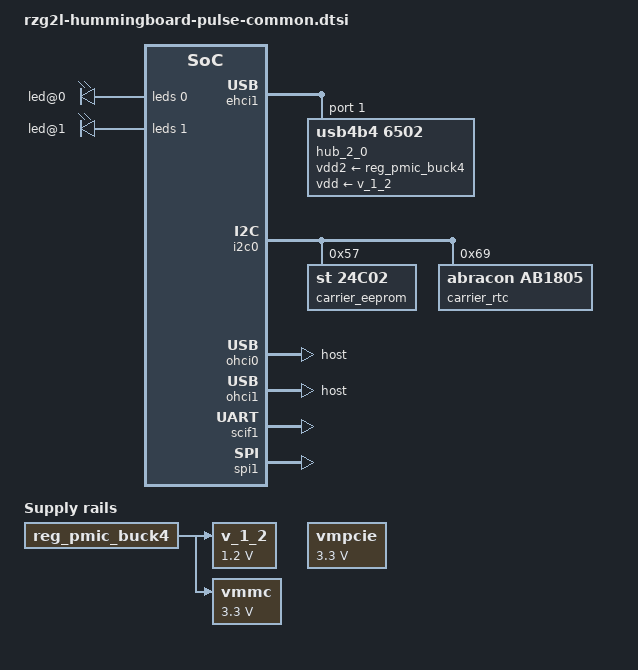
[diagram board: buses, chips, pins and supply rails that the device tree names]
// SPDX-License-Identifier: (GPL-2.0-only OR BSD-2-Clause)
/*
 * Copyright 2025 Josua Mayer <josua@solid-run.com>
 */

#include <dt-bindings/leds/common.h>

/ {
	aliases {
		rtc0 = &carrier_rtc;
		rtc1 = &pmic;
	};

	v_1_2: regulator-1v2 {
		compatible = "regulator-fixed";
		regulator-name = "1v2";
		regulator-max-microvolt = <1200000>;
		regulator-min-microvolt = <1200000>;
		vin-supply = <&reg_pmic_buck4>;
	};

	vmmc: regulator-mmc {
		compatible = "regulator-fixed";
		regulator-name = "vmmc";
		regulator-max-microvolt = <3300000>;
		regulator-min-microvolt = <3300000>;
		startup-delay-us = <250>;
		vin-supply = <&reg_pmic_buck4>;
	};

	vmpcie: regulator-mpcie {
		/* supplies mpcie and m2 connectors */
		regulator-name = "vmpcie";
		compatible = "regulator-fixed";
		regulator-always-on;
		regulator-max-microvolt = <3300000>;
		regulator-min-microvolt = <3300000>;
		enable-active-high;
	};
};

&ehci1 {
	#address-cells = <1>;
	#size-cells = <0>;

	hub_2_0: hub@1 {
		compatible = "usb4b4,6502", "usb4b4,6506";
		reg = <1>;
		vdd2-supply = <&reg_pmic_buck4>;
		vdd-supply = <&v_1_2>;
	};
};

&i2c0 {
	carrier_eeprom: eeprom@57 {
		compatible = "st,24c02", "atmel,24c02";
		reg = <0x57>;
		pagesize = <16>;
	};

	carrier_rtc: rtc@69 {
		compatible = "abracon,ab1805";
		reg = <0x69>;
		abracon,tc-diode = "schottky";
		abracon,tc-resistor = <3>;
	};
};

&ohci0 {
	dr_mode = "host";
};

&ohci1 {
	dr_mode = "host";
};

&phy0 {
	leds {
		#address-cells = <1>;
		#size-cells = <0>;

		led@0 {
			reg = <0>;
			color = <LED_COLOR_ID_ORANGE>;
			default-state = "keep";
			function = LED_FUNCTION_LAN;
		};

		led@1 {
			reg = <1>;
			color = <LED_COLOR_ID_GREEN>;
			default-state = "keep";
			function = LED_FUNCTION_LAN;
		};
	};
};

/* mikrobus uart */
&scif1 {
	pinctrl-0 = <&mikro_uart_pins>;
	pinctrl-names = "default";
	status = "okay";
};

/* mikrobus spi */
&spi1 {
	num-cs = <1>;
	pinctrl-0 = <&spi1_pins>, <&spi1_cs_pins>;
	pinctrl-names = "default";
	status = "okay";
};

&usb2_phy0 {
	pinctrl-0 = <&usb0_vbus_pins>;
	pinctrl-names = "default";
};
